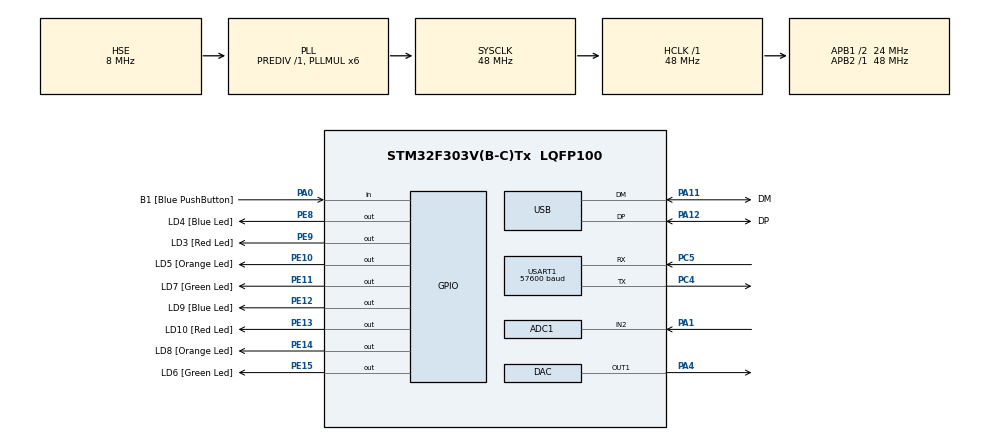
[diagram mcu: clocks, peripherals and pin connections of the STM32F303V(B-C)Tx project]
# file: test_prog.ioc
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ADC1.Channel-0\#ChannelRegularConversion=ADC_CHANNEL_2
ADC1.ClockPrescaler=ADC_CLOCK_SYNC_PCLK_DIV4
ADC1.ContinuousConvMode=DISABLE
ADC1.DMAContinuousRequests=ENABLE
ADC1.DataAlign=ADC_DATAALIGN_RIGHT
ADC1.DiscontinuousConvMode=DISABLE
ADC1.EOCSelection=ADC_EOC_SINGLE_CONV
ADC1.EnableAnalogWatchDog1=false
ADC1.EnableAnalogWatchDog2=false
ADC1.EnableAnalogWatchDog3=false
ADC1.EnableInjectedConversion=ENABLE
ADC1.EnableRegularConversion=ENABLE
ADC1.ExternalTrigConv=ADC_EXTERNALTRIGCONV_T2_TRGO
ADC1.ExternalTrigConvEdge=ADC_EXTERNALTRIGCONVEDGE_RISING
ADC1.InjNumberOfConversion=0
ADC1.LowPowerAutoWait=DISABLE
ADC1.NbrOfConversion=1
ADC1.NbrOfConversionFlag=1
ADC1.Offset-0\#ChannelRegularConversion=0
ADC1.OffsetNumber-0\#ChannelRegularConversion=ADC_OFFSET_NONE
ADC1.Overrun=ADC_OVR_DATA_OVERWRITTEN
ADC1.Rank-0\#ChannelRegularConversion=1
ADC1.Resolution=ADC_RESOLUTION_12B
ADC1.SamplingTime-0\#ChannelRegularConversion=ADC_SAMPLETIME_1CYCLE_5
ADC1.ScanConvMode=ADC_SCAN_DISABLE
ADC1.master=1
DAC.DAC_Trigger=DAC_TRIGGER_T2_TRGO
Dma.ADC1.1.Direction=DMA_PERIPH_TO_MEMORY
Dma.ADC1.1.Instance=DMA1_Channel1
Dma.ADC1.1.MemDataAlignment=DMA_MDATAALIGN_HALFWORD
Dma.ADC1.1.MemInc=DMA_MINC_ENABLE
Dma.ADC1.1.Mode=DMA_CIRCULAR
Dma.ADC1.1.PeriphDataAlignment=DMA_PDATAALIGN_HALFWORD
Dma.ADC1.1.PeriphInc=DMA_PINC_DISABLE
Dma.ADC1.1.Priority=DMA_PRIORITY_MEDIUM
Dma.DAC_CH1.0.Direction=DMA_MEMORY_TO_PERIPH
Dma.DAC_CH1.0.Instance=DMA1_Channel3
Dma.DAC_CH1.0.MemDataAlignment=DMA_MDATAALIGN_HALFWORD
Dma.DAC_CH1.0.MemInc=DMA_MINC_ENABLE
Dma.DAC_CH1.0.Mode=DMA_CIRCULAR
Dma.DAC_CH1.0.PeriphDataAlignment=DMA_PDATAALIGN_HALFWORD
Dma.DAC_CH1.0.PeriphInc=DMA_PINC_DISABLE
Dma.DAC_CH1.0.Priority=DMA_PRIORITY_MEDIUM
Dma.Request0=DAC_CH1
Dma.Request1=ADC1
Dma.Request2=USART1_TX
Dma.Request3=USART1_RX
Dma.USART1_RX.3.Direction=DMA_PERIPH_TO_MEMORY
Dma.USART1_RX.3.Instance=DMA1_Channel5
Dma.USART1_RX.3.MemDataAlignment=DMA_MDATAALIGN_BYTE
Dma.USART1_RX.3.MemInc=DMA_MINC_ENABLE
Dma.USART1_RX.3.Mode=DMA_NORMAL
Dma.USART1_RX.3.PeriphDataAlignment=DMA_PDATAALIGN_BYTE
Dma.USART1_RX.3.PeriphInc=DMA_PINC_DISABLE
Dma.USART1_RX.3.Priority=DMA_PRIORITY_LOW
Dma.USART1_TX.2.Direction=DMA_MEMORY_TO_PERIPH
Dma.USART1_TX.2.Instance=DMA1_Channel4
Dma.USART1_TX.2.MemDataAlignment=DMA_MDATAALIGN_BYTE
Dma.USART1_TX.2.MemInc=DMA_MINC_ENABLE
Dma.USART1_TX.2.Mode=DMA_NORMAL
Dma.USART1_TX.2.PeriphDataAlignment=DMA_PDATAALIGN_BYTE
Dma.USART1_TX.2.PeriphInc=DMA_PINC_DISABLE
Dma.USART1_TX.2.Priority=DMA_PRIORITY_LOW
FREERTOS.Tasks01=defaultTask,0,128,StartDefaultTask,Default,NULL
Mcu.Family=STM32F3
Mcu.Name=STM32F303V(B-C)Tx
Mcu.Package=LQFP100
NVIC.DMA1_Channel1_IRQn=true\:5\:0\:false\:false\:true\:true\:false
NVIC.DMA1_Channel3_IRQn=true\:5\:0\:false\:false\:true\:true\:false
NVIC.DMA1_Channel4_IRQn=true\:5\:0\:false\:false\:true\:true\:false
NVIC.DMA1_Channel5_IRQn=true\:5\:0\:false\:false\:true\:true\:false
NVIC.PriorityGroup=NVIC_PRIORITYGROUP_4
NVIC.TIM8_UP_IRQn=true\:0\:0\:false\:false\:true\:false\:false
NVIC.TimeBase=TIM8_UP_IRQn
NVIC.TimeBaseIP=TIM8
NVIC.USART1_IRQn=true\:5\:0\:false\:false\:true\:true\:true
NVIC.USB_LP_CAN_RX0_IRQn=true\:5\:0\:false\:false\:true\:true\:false
PA0.GPIO_Label=B1 [Blue PushButton]
PA0.Signal=GPIO_Input
PA1.Mode=IN2-Single-Ended
PA1.Signal=ADC1_IN2
PA11.GPIO_Label=DM
PA11.Mode=Device
PA11.Signal=USB_DM
PA12.GPIO_Label=DP
PA12.Mode=Device
PA12.Signal=USB_DP
PA13.GPIO_Label=SWDIO
PA13.Mode=Serial_Wire
PA13.Signal=SYS_JTMS-SWDIO
PA14.GPIO_Label=SWCLK
PA14.Mode=Serial_Wire
PA14.Signal=SYS_JTCK-SWCLK
PA4.Signal=COMP_DAC1_group
PB3.GPIO_Label=SWO
PB3.Signal=SYS_JTDO-TRACESWO
PC14-OSC32_IN.GPIO_Label=OSC32_IN
PC14-OSC32_IN.Signal=RCC_OSC32_IN
PC15-OSC32_OUT.GPIO_Label=OSC32_OUT
PC15-OSC32_OUT.Signal=RCC_OSC32_OUT
PC4.Mode=Asynchronous
PC4.Signal=USART1_TX
PC5.Mode=Asynchronous
PC5.Signal=USART1_RX
PE10.GPIO_Label=LD5 [Orange Led]
PE10.Signal=GPIO_Output
PE11.GPIO_Label=LD7 [Green Led]
PE11.Signal=GPIO_Output
PE12.GPIO_Label=LD9 [Blue Led]
PE12.Signal=GPIO_Output
PE13.GPIO_Label=LD10 [Red Led]
PE13.Signal=GPIO_Output
PE14.GPIO_Label=LD8 [Orange Led]
PE14.Signal=GPIO_Output
PE15.GPIO_Label=LD6 [Green Led]
PE15.Signal=GPIO_Output
PE8.GPIO_Label=LD4 [Blue Led]
PE8.Signal=GPIO_Output
PE9.GPIO_Label=LD3 [Red Led]
PE9.Signal=GPIO_Output
PF0-OSC_IN.GPIO_Label=OSC_IN
PF0-OSC_IN.Mode=HSE-External-Clock-Source
PF0-OSC_IN.Signal=RCC_OSC_IN
PF1-OSC_OUT.GPIO_Label=OSC_OUT
PF1-OSC_OUT.Signal=RCC_OSC_OUT
ProjectManager.HeapSize=0x200
ProjectManager.StackSize=0x400
ProjectManager.TargetToolchain=MDK-ARM V5
RCC.AHBFreq_Value=48000000
RCC.APB1CLKDivider=RCC_HCLK_DIV2
RCC.APB1Freq_Value=24000000
RCC.APB1TimFreq_Value=48000000
RCC.APB2Freq_Value=48000000
RCC.APB2TimFreq_Value=48000000
RCC.CortexFreq_Value=48000000
RCC.HCLKFreq_Value=48000000
RCC.HSE_VALUE=8000000
RCC.HSI_VALUE=8000000
RCC.LSE_VALUE=32768
RCC.PLLMUL=RCC_PLL_MUL6
RCC.SYSCLKFreq_VALUE=48000000
RCC.SYSCLKSourceVirtual=RCC_SYSCLKSOURCE_PLLCLK
RCC.USBFreq_Value=48000000
SH.COMP_DAC1_group.0=DAC_OUT1,DAC_OUT1
TIM2.AutoReloadPreload=TIM_AUTORELOAD_PRELOAD_ENABLE
TIM2.Period=1000
TIM2.Prescaler=48
TIM2.TIM_MasterOutputTrigger=TIM_TRGO_UPDATE
TIM2.TIM_MasterSlaveMode=TIM_MASTERSLAVEMODE_DISABLE
USART1.BaudRate=57600
USART1.VirtualMode-Asynchronous=VM_ASYNC
USB_DEVICE.CLASS_NAME_FS=CDC
USB_DEVICE.VirtualMode=Cdc
USB_DEVICE.VirtualModeFS=Cdc_FS
VP_FREERTOS_VS_ENABLE.Mode=Enabled
VP_SYS_VS_tim8.Mode=TIM8
VP_TIM2_VS_ClockSourceINT.Mode=Internal
VP_USB_DEVICE_VS_USB_DEVICE_CDC_FS.Mode=CDC_FS
board=STM32F3DISCOVERY

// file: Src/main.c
/**
  ******************************************************************************
  * @file           : main.c
  * @brief          : Main program body
  ******************************************************************************
  * This notice applies to any and all portions of this file
  * that are not between comment pairs USER CODE BEGIN and
  * USER CODE END. Other portions of this file, whether
  * inserted by the user or by software development tools
  * are owned by their respective copyright owners.
  *
  * Copyright (c) 2018 STMicroelectronics International N.V.
  * All rights reserved.
  *
  * Redistribution and use in source and binary forms, with or without
  * modification, are permitted, provided that the following conditions are met:
  *
  * 1. Redistribution of source code must retain the above copyright notice,
  *    this list of conditions and the following disclaimer.
  * 2. Redistributions in binary form must reproduce the above copyright notice,
  *    this list of conditions and the following disclaimer in the documentation
  *    and/or other materials provided with the distribution.
  * 3. Neither the name of STMicroelectronics nor the names of other
  *    contributors to this software may be used to endorse or promote products
  *    derived from this software without specific written permission.
  * 4. This software, including modifications and/or derivative works of this
  *    software, must execute solely and exclusively on microcontroller or
  *    microprocessor devices manufactured by or for STMicroelectronics.
  * 5. Redistribution and use of this software other than as permitted under
  *    this license is void and will automatically terminate your rights under
  *    this license.
  *
  * THIS SOFTWARE IS PROVIDED BY STMICROELECTRONICS AND CONTRIBUTORS "AS IS"
  * AND ANY EXPRESS, IMPLIED OR STATUTORY WARRANTIES, INCLUDING, BUT NOT
  * LIMITED TO, THE IMPLIED WARRANTIES OF MERCHANTABILITY, FITNESS FOR A
  * PARTICULAR PURPOSE AND NON-INFRINGEMENT OF THIRD PARTY INTELLECTUAL PROPERTY
  * RIGHTS ARE DISCLAIMED TO THE FULLEST EXTENT PERMITTED BY LAW. IN NO EVENT
  * SHALL STMICROELECTRONICS OR CONTRIBUTORS BE LIABLE FOR ANY DIRECT, INDIRECT,
  * INCIDENTAL, SPECIAL, EXEMPLARY, OR CONSEQUENTIAL DAMAGES (INCLUDING, BUT NOT
  * LIMITED TO, PROCUREMENT OF SUBSTITUTE GOODS OR SERVICES; LOSS OF USE, DATA,
  * OR PROFITS; OR BUSINESS INTERRUPTION) HOWEVER CAUSED AND ON ANY THEORY OF
  * LIABILITY, WHETHER IN CONTRACT, STRICT LIABILITY, OR TORT (INCLUDING
  * NEGLIGENCE OR OTHERWISE) ARISING IN ANY WAY OUT OF THE USE OF THIS SOFTWARE,
  * EVEN IF ADVISED OF THE POSSIBILITY OF SUCH DAMAGE.
  *
  ******************************************************************************
  */
#include "main.h"
#include "stm32f3xx_hal.h"
#include "cmsis_os.h"
#include "usb_device.h"

ADC_HandleTypeDef hadc1;
DMA_HandleTypeDef hdma_adc1;

DAC_HandleTypeDef hdac;
DMA_HandleTypeDef hdma_dac_ch1;

TIM_HandleTypeDef htim2;

UART_HandleTypeDef huart1;
DMA_HandleTypeDef hdma_usart1_tx;
DMA_HandleTypeDef hdma_usart1_rx;

osThreadId defaultTaskHandle;

/* USER CODE BEGIN PV */
/* Private variables ---------------------------------------------------------*/
uint16_t analog_flow_buf[ANALOG_BUFF_SIZE];
uint8_t  usart_rx_buff[1];
/* USER CODE END PV */

void SystemClock_Config(void);
static void MX_GPIO_Init(void);
static void MX_DMA_Init(void);
static void MX_DAC_Init(void);
static void MX_USART1_UART_Init(void);
static void MX_TIM2_Init(void);
static void MX_ADC1_Init(void);
void StartDefaultTask(void const * argument);

/* USER CODE BEGIN PFP */
/* Private function prototypes -----------------------------------------------*/

/* USER CODE END PFP */

/* USER CODE BEGIN 0 */
/**
@name 	: Фунции запуска/остановки аналового потока
@{
*/

/**
*******************************************************************************
* @function StartAnalogLoop запуск выгрузки значений АЦП в буфер
* @param 	: rate - значение от 10 до 10 000 отсчетов в секунду
* @return	: Нет
*******************************************************************************
*/
void StartAnalogLoop(uint16_t rate)
{
	HAL_NVIC_EnableIRQ(DMA1_Channel1_IRQn);
	HAL_NVIC_EnableIRQ(DMA1_Channel3_IRQn);

	HAL_ADC_Start_DMA(&hadc1, (uint32_t*)analog_flow_buf, ANALOG_BUFF_SIZE);

	htim2.Init.Period = (uint32_t)SystemCoreClock / htim2.Init.Prescaler
		/ rate; // вычислим период перезагрузки таймера

	HAL_TIM_Base_Init(&htim2);

	HAL_TIM_Base_Start(&htim2);
}
/**
*******************************************************************************
* @function StopAnalogLoop остановка выгрузки значений АЦП в буфер
* 			и выборки в ЦАП
* @param 	: нет
* @return	: нет
*******************************************************************************
*/
void StopAnalogLoop(void)
{
	HAL_ADC_Stop_DMA(&hadc1);
	HAL_DAC_Stop_DMA(&hdac,DAC_CHANNEL_1);
}

/**
*******************************************************************************
* @function HAL_ADC_ConvHalfCpltCallback
* @brief	: 	вызывается обработчиком ПДП после заполнения половины буфера АЦП
*				для запуска выборки в ЦАП
* @param 	: 	ADC_HandleTypeDef* hadc - - указатель на структуру АЦП
* @return	: 	Нет
*******************************************************************************
*/
void HAL_ADC_ConvHalfCpltCallback(ADC_HandleTypeDef* hadc)
{
	HAL_DAC_Start_DMA(&hdac, DAC_CHANNEL_1, (uint32_t*)analog_flow_buf, ANALOG_BUFF_SIZE, DAC_ALIGN_12B_R);

	HAL_NVIC_DisableIRQ(DMA1_Channel1_IRQn);
	HAL_NVIC_DisableIRQ(DMA1_Channel3_IRQn);
}
/**
@}
*/
/* USER CODE END 0 */

int main(void)
{

  /* MCU Configuration----------------------------------------------------------*/

  /* Reset of all peripherals, Initializes the Flash interface and the Systick. */
  HAL_Init();

  /* Configure the system clock */
  SystemClock_Config();

  /* Initialize all configured peripherals */
  MX_GPIO_Init();
  MX_DMA_Init();
  MX_DAC_Init();
  MX_USART1_UART_Init();
  MX_TIM2_Init();
  MX_ADC1_Init();
  /* USER CODE BEGIN 2 */
	HAL_UART_Receive_IT(&huart1,usart_rx_buff,1);

  /* USER CODE END 2 */

  /* Create the thread(s) */
  /* definition and creation of defaultTask */
  osThreadDef(defaultTask, StartDefaultTask, osPriorityNormal, 0, 128);
  defaultTaskHandle = osThreadCreate(osThread(defaultTask), NULL);

  /* USER CODE BEGIN RTOS_QUEUES */
	init_application();
  /* USER CODE END RTOS_QUEUES */

  /* Start scheduler */
  osKernelStart();

  /* We should never get here as control is now taken by the scheduler */

  /* Infinite loop */
  while (1)
  {

  }

}

void SystemClock_Config(void)
{

  RCC_OscInitTypeDef RCC_OscInitStruct;
  RCC_ClkInitTypeDef RCC_ClkInitStruct;
  RCC_PeriphCLKInitTypeDef PeriphClkInit;

    /**Initializes the CPU, AHB and APB busses clocks
    */
  RCC_OscInitStruct.OscillatorType = RCC_OSCILLATORTYPE_HSE;
  RCC_OscInitStruct.HSEState = RCC_HSE_BYPASS;
  RCC_OscInitStruct.HSEPredivValue = RCC_HSE_PREDIV_DIV1;
  RCC_OscInitStruct.HSIState = RCC_HSI_ON;
  RCC_OscInitStruct.PLL.PLLState = RCC_PLL_ON;
  RCC_OscInitStruct.PLL.PLLSource = RCC_PLLSOURCE_HSE;
  RCC_OscInitStruct.PLL.PLLMUL = RCC_PLL_MUL6;
  if (HAL_RCC_OscConfig(&RCC_OscInitStruct) != HAL_OK)
  {
    _Error_Handler(__FILE__, __LINE__);
  }

    /**Initializes the CPU, AHB and APB busses clocks
    */
  RCC_ClkInitStruct.ClockType = RCC_CLOCKTYPE_HCLK|RCC_CLOCKTYPE_SYSCLK
                              |RCC_CLOCKTYPE_PCLK1|RCC_CLOCKTYPE_PCLK2;
  RCC_ClkInitStruct.SYSCLKSource = RCC_SYSCLKSOURCE_PLLCLK;
  RCC_ClkInitStruct.AHBCLKDivider = RCC_SYSCLK_DIV1;
  RCC_ClkInitStruct.APB1CLKDivider = RCC_HCLK_DIV2;
  RCC_ClkInitStruct.APB2CLKDivider = RCC_HCLK_DIV1;

  if (HAL_RCC_ClockConfig(&RCC_ClkInitStruct, FLASH_LATENCY_1) != HAL_OK)
  {
    _Error_Handler(__FILE__, __LINE__);
  }

  PeriphClkInit.PeriphClockSelection = RCC_PERIPHCLK_USB|RCC_PERIPHCLK_USART1;
  PeriphClkInit.Usart1ClockSelection = RCC_USART1CLKSOURCE_PCLK2;
  PeriphClkInit.USBClockSelection = RCC_USBCLKSOURCE_PLL;
  if (HAL_RCCEx_PeriphCLKConfig(&PeriphClkInit) != HAL_OK)
  {
    _Error_Handler(__FILE__, __LINE__);
  }

    /**Configure the Systick interrupt time
    */
  HAL_SYSTICK_Config(HAL_RCC_GetHCLKFreq()/1000);

    /**Configure the Systick
    */
  HAL_SYSTICK_CLKSourceConfig(SYSTICK_CLKSOURCE_HCLK);

  /* SysTick_IRQn interrupt configuration */
  HAL_NVIC_SetPriority(SysTick_IRQn, 15, 0);
}

/* ADC1 init function */
static void MX_ADC1_Init(void)
{

  ADC_MultiModeTypeDef multimode;
  ADC_ChannelConfTypeDef sConfig;

    /**Common config
    */
  hadc1.Instance = ADC1;
  hadc1.Init.ClockPrescaler = ADC_CLOCK_SYNC_PCLK_DIV4;
  hadc1.Init.Resolution = ADC_RESOLUTION_12B;
  hadc1.Init.ScanConvMode = ADC_SCAN_DISABLE;
  hadc1.Init.ContinuousConvMode = DISABLE;
  hadc1.Init.DiscontinuousConvMode = DISABLE;
  hadc1.Init.ExternalTrigConvEdge = ADC_EXTERNALTRIGCONVEDGE_RISING;
  hadc1.Init.ExternalTrigConv = ADC_EXTERNALTRIGCONV_T2_TRGO;
  hadc1.Init.DataAlign = ADC_DATAALIGN_RIGHT;
  hadc1.Init.NbrOfConversion = 1;
  hadc1.Init.DMAContinuousRequests = ENABLE;
  hadc1.Init.EOCSelection = ADC_EOC_SINGLE_CONV;
  hadc1.Init.LowPowerAutoWait = DISABLE;
  hadc1.Init.Overrun = ADC_OVR_DATA_OVERWRITTEN;
  if (HAL_ADC_Init(&hadc1) != HAL_OK)
  {
    _Error_Handler(__FILE__, __LINE__);
  }

    /**Configure the ADC multi-mode
    */
  multimode.Mode = ADC_MODE_INDEPENDENT;
  if (HAL_ADCEx_MultiModeConfigChannel(&hadc1, &multimode) != HAL_OK)
  {
    _Error_Handler(__FILE__, __LINE__);
  }

    /**Configure Regular Channel
    */
  sConfig.Channel = ADC_CHANNEL_2;
  sConfig.Rank = ADC_REGULAR_RANK_1;
  sConfig.SingleDiff = ADC_SINGLE_ENDED;
  sConfig.SamplingTime = ADC_SAMPLETIME_1CYCLE_5;
  sConfig.OffsetNumber = ADC_OFFSET_NONE;
  sConfig.Offset = 0;
  if (HAL_ADC_ConfigChannel(&hadc1, &sConfig) != HAL_OK)
  {
    _Error_Handler(__FILE__, __LINE__);
  }

}

/* DAC init function */
static void MX_DAC_Init(void)
{

  DAC_ChannelConfTypeDef sConfig;

    /**DAC Initialization
    */
  hdac.Instance = DAC;
  if (HAL_DAC_Init(&hdac) != HAL_OK)
  {
    _Error_Handler(__FILE__, __LINE__);
  }

    /**DAC channel OUT1 config
    */
  sConfig.DAC_Trigger = DAC_TRIGGER_T2_TRGO;
  sConfig.DAC_OutputBuffer = DAC_OUTPUTBUFFER_ENABLE;
  if (HAL_DAC_ConfigChannel(&hdac, &sConfig, DAC_CHANNEL_1) != HAL_OK)
  {
    _Error_Handler(__FILE__, __LINE__);
  }

}

/* TIM2 init function */
static void MX_TIM2_Init(void)
{

  TIM_ClockConfigTypeDef sClockSourceConfig;
  TIM_MasterConfigTypeDef sMasterConfig;

  htim2.Instance = TIM2;
  htim2.Init.Prescaler = 48;
  htim2.Init.CounterMode = TIM_COUNTERMODE_UP;
  htim2.Init.Period = 1000;
  htim2.Init.ClockDivision = TIM_CLOCKDIVISION_DIV1;
  htim2.Init.AutoReloadPreload = TIM_AUTORELOAD_PRELOAD_ENABLE;
  if (HAL_TIM_Base_Init(&htim2) != HAL_OK)
  {
    _Error_Handler(__FILE__, __LINE__);
  }

  sClockSourceConfig.ClockSource = TIM_CLOCKSOURCE_INTERNAL;
  if (HAL_TIM_ConfigClockSource(&htim2, &sClockSourceConfig) != HAL_OK)
  {
    _Error_Handler(__FILE__, __LINE__);
  }

  sMasterConfig.MasterOutputTrigger = TIM_TRGO_UPDATE;
  sMasterConfig.MasterSlaveMode = TIM_MASTERSLAVEMODE_DISABLE;
  if (HAL_TIMEx_MasterConfigSynchronization(&htim2, &sMasterConfig) != HAL_OK)
  {
    _Error_Handler(__FILE__, __LINE__);
  }

}

/* USART1 init function */
static void MX_USART1_UART_Init(void)
{

  huart1.Instance = USART1;
  huart1.Init.BaudRate = 57600;
  huart1.Init.WordLength = UART_WORDLENGTH_8B;
  huart1.Init.StopBits = UART_STOPBITS_1;
  huart1.Init.Parity = UART_PARITY_NONE;
  huart1.Init.Mode = UART_MODE_TX_RX;
  huart1.Init.HwFlowCtl = UART_HWCONTROL_NONE;
  huart1.Init.OverSampling = UART_OVERSAMPLING_16;
  huart1.Init.OneBitSampling = UART_ONE_BIT_SAMPLE_DISABLE;
  huart1.AdvancedInit.AdvFeatureInit = UART_ADVFEATURE_NO_INIT;
  if (HAL_UART_Init(&huart1) != HAL_OK)
  {
    _Error_Handler(__FILE__, __LINE__);
  }

}

static void MX_DMA_Init(void)
{
  /* DMA controller clock enable */
  __HAL_RCC_DMA1_CLK_ENABLE();

  /* DMA interrupt init */
  /* DMA1_Channel1_IRQn interrupt configuration */
  HAL_NVIC_SetPriority(DMA1_Channel1_IRQn, 5, 0);
  HAL_NVIC_EnableIRQ(DMA1_Channel1_IRQn);
  /* DMA1_Channel3_IRQn interrupt configuration */
  HAL_NVIC_SetPriority(DMA1_Channel3_IRQn, 5, 0);
  HAL_NVIC_EnableIRQ(DMA1_Channel3_IRQn);
  /* DMA1_Channel4_IRQn interrupt configuration */
  HAL_NVIC_SetPriority(DMA1_Channel4_IRQn, 5, 0);
  HAL_NVIC_EnableIRQ(DMA1_Channel4_IRQn);
  /* DMA1_Channel5_IRQn interrupt configuration */
  HAL_NVIC_SetPriority(DMA1_Channel5_IRQn, 5, 0);
  HAL_NVIC_EnableIRQ(DMA1_Channel5_IRQn);

}

/** Configure pins as
        * Analog
        * Input
        * Output
        * EVENT_OUT
        * EXTI
*/
static void MX_GPIO_Init(void)
{

  GPIO_InitTypeDef GPIO_InitStruct;

  /* GPIO Ports Clock Enable */
  __HAL_RCC_GPIOC_CLK_ENABLE();
  __HAL_RCC_GPIOF_CLK_ENABLE();
  __HAL_RCC_GPIOA_CLK_ENABLE();
  __HAL_RCC_GPIOE_CLK_ENABLE();
  __HAL_RCC_GPIOB_CLK_ENABLE();

  /*Configure GPIO pin Output Level */
  HAL_GPIO_WritePin(GPIOE, LD4_Pin|LD3_Pin|LD5_Pin|LD7_Pin
                          |LD9_Pin|LD10_Pin|LD8_Pin|LD6_Pin, GPIO_PIN_RESET);

  /*Configure GPIO pin : B1_Pin */
  GPIO_InitStruct.Pin = B1_Pin;
  GPIO_InitStruct.Mode = GPIO_MODE_INPUT;
  GPIO_InitStruct.Pull = GPIO_NOPULL;
  HAL_GPIO_Init(B1_GPIO_Port, &GPIO_InitStruct);

  /*Configure GPIO pins : LD4_Pin LD3_Pin LD5_Pin LD7_Pin
                           LD9_Pin LD10_Pin LD8_Pin LD6_Pin */
  GPIO_InitStruct.Pin = LD4_Pin|LD3_Pin|LD5_Pin|LD7_Pin
                          |LD9_Pin|LD10_Pin|LD8_Pin|LD6_Pin;
  GPIO_InitStruct.Mode = GPIO_MODE_OUTPUT_PP;
  GPIO_InitStruct.Pull = GPIO_NOPULL;
  GPIO_InitStruct.Speed = GPIO_SPEED_FREQ_LOW;
  HAL_GPIO_Init(GPIOE, &GPIO_InitStruct);

}

/* StartDefaultTask function */
void StartDefaultTask(void const * argument)
{
  /* init code for USB_DEVICE */
  MX_USB_DEVICE_Init();

  /* USER CODE BEGIN 5 */
  /* Infinite loop */
  for(;;)
  {
		//* Alive LED blincked */
    osDelay(250);
		LED_Control(Green_LED, LED_ON);

		osDelay(250);
		LED_Control(Green_LED, LED_OFF);
  }
  /* USER CODE END 5 */
}

void HAL_TIM_PeriodElapsedCallback(TIM_HandleTypeDef *htim)
{
  if (htim->Instance == TIM8) {
    HAL_IncTick();
  }
}

void _Error_Handler(char *file, int line)
{
  while(1)
  {
  }
}

/************************ (C) COPYRIGHT STMicroelectronics *****END OF FILE****/
